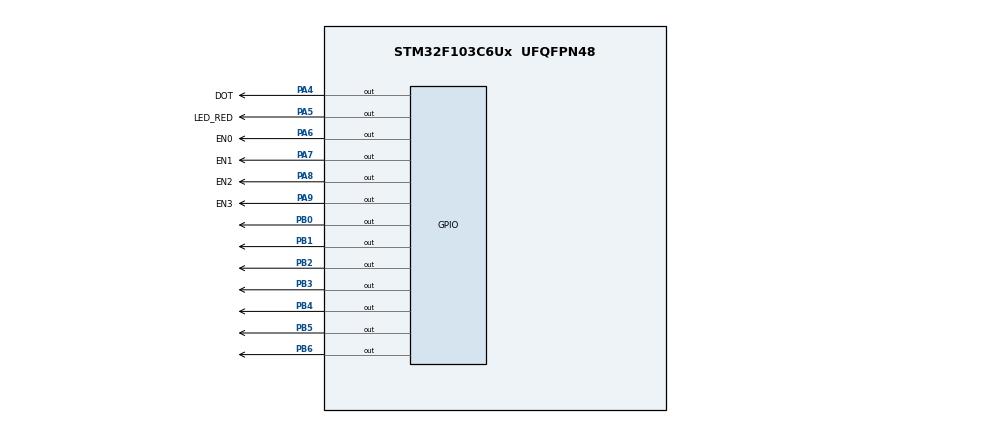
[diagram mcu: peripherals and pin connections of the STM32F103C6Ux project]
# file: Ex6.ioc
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Mcu.Family=STM32F1
Mcu.Name=STM32F103C6Ux
Mcu.Package=UFQFPN48
NVIC.PriorityGroup=NVIC_PRIORITYGROUP_4
NVIC.TIM2_IRQn=true\:0\:0\:false\:false\:true\:true\:true
PA4.GPIO_Label=DOT
PA4.Signal=GPIO_Output
PA5.GPIO_Label=LED_RED
PA5.Signal=GPIO_Output
PA6.GPIO_Label=EN0
PA6.Signal=GPIO_Output
PA7.GPIO_Label=EN1
PA7.Signal=GPIO_Output
PA8.GPIO_Label=EN2
PA8.Signal=GPIO_Output
PA9.GPIO_Label=EN3
PA9.Signal=GPIO_Output
PB0.Signal=GPIO_Output
PB1.Signal=GPIO_Output
PB2.Signal=GPIO_Output
PB3.Signal=GPIO_Output
PB4.Signal=GPIO_Output
PB5.Signal=GPIO_Output
PB6.Signal=GPIO_Output
ProjectManager.HeapSize=0x200
ProjectManager.StackSize=0x400
ProjectManager.TargetToolchain=STM32CubeIDE
RCC.APB1Freq_Value=8000000
RCC.APB2Freq_Value=8000000
TIM2.Period=10
TIM2.Prescaler=7999
VP_SYS_VS_ND.Mode=No_Debug
VP_TIM2_VS_ClockSourceINT.Mode=Internal
board=custom

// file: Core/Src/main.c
/* USER CODE BEGIN Header */
/**
 ******************************************************************************
 * @file           : main.c
 * @brief          : Main program body
 ******************************************************************************
 * @attention
 *
 * <h2><center>&copy; Copyright (c) 2022 STMicroelectronics.
 * All rights reserved.</center></h2>
 *
 * This software component is licensed by ST under BSD 3-Clause license,
 * the "License"; You may not use this file except in compliance with the
 * License. You may obtain a copy of the License at:
 *                        opensource.org/licenses/BSD-3-Clause
 *
 ******************************************************************************
 */
/* USER CODE END Header */
#include "main.h"

/* USER CODE BEGIN Includes */
#include "software_timer.h"
/* USER CODE END Includes */

TIM_HandleTypeDef htim2;

void SystemClock_Config(void);
static void MX_TIM2_Init(void);
static void MX_GPIO_Init(void);

/* USER CODE BEGIN 0 */
void display7SEG(int num, GPIO_TypeDef *GPIOx, uint16_t start_index) {
	__IO uint16_t temp;
	switch (num) {
	case 0:
		temp = 0b1000000;
		break;
	case 1:
		temp = 0b1111001;
		break;
	case 2:
		temp = 0b0100100;
		break;
	case 3:
		temp = 0b0110000;
		break;
	case 4:
		temp = 0b0011001;
		break;
	case 5:
		temp = 0b0010010;
		break;
	case 6:
		temp = 0b0000010;
		break;
	case 7:
		temp = 0b1111000;
		break;
	case 8:
		temp = 0b0;
		break;
	case 9:
		temp = 0b0010000;
		break;
	default:
		temp = !0b0;
		break;
	}
	uint16_t bitmask = 0b1111111 << start_index;
	GPIOx->ODR = (GPIOx->ODR & ~bitmask) | (temp << start_index);
}
/* USER CODE END 0 */

int main(void) {

	/* MCU Configuration--------------------------------------------------------*/

	/* Reset of all peripherals, Initializes the Flash interface and the Systick. */
	HAL_Init();

	/* Configure the system clock */
	SystemClock_Config();

	/* Initialize all configured peripherals */
	MX_TIM2_Init();
	MX_GPIO_Init();
	/* USER CODE BEGIN 2 */
	int hour = 15, minute = 8, second = 50;

	// Set bit en 1..4
	void setEnable(uint16_t num) {
		//	uint16_t bitmask = 0b1111111 << start_index ;
		//	GPIOx->ODR = (GPIOx->ODR & ~bitmask)
		//			| (temp << start_index);
		uint16_t bitmask = 0xf << 6;
		GPIOA->ODR = (GPIOA->ODR & ~bitmask) | (~(1 << num) << 6);

	}

	int led_buffer[4] = { 1, 2, 4, 5 };
	void update7SEG(int index) {
		switch (index) {
		case 0:
			setEnable(0);
			break;
		case 1:
			setEnable(1);
			break;
		case 2:
			setEnable(2);
			break;
		case 3:
			setEnable(3);
			break;
		default:
			break;
		}
		display7SEG(led_buffer[index], GPIOB, 0);
	}
	void updateClockBuffer() {
		led_buffer[0] = hour / 10;
		led_buffer[1] = hour % 10;
		led_buffer[2] = minute / 10;
		led_buffer[3] = minute % 10;
	}
	/* USER CODE END 2 */

	/* Infinite loop */
	/* USER CODE BEGIN WHILE */
	setTimer0(1000);
	while (1) {
		updateClockBuffer();
		if (timer0_flag == 1) {
			HAL_GPIO_TogglePin(LED_RED_GPIO_Port, LED_RED_Pin);
			setTimer0(2000);
		}
		/* USER CODE END WHILE */

	}
}

void SystemClock_Config(void) {
	RCC_OscInitTypeDef RCC_OscInitStruct = { 0 };
	RCC_ClkInitTypeDef RCC_ClkInitStruct = { 0 };

	/** Initializes the RCC Oscillators according to the specified parameters
	 * in the RCC_OscInitTypeDef structure.
	 */
	RCC_OscInitStruct.OscillatorType = RCC_OSCILLATORTYPE_HSI;
	RCC_OscInitStruct.HSIState = RCC_HSI_ON;
	RCC_OscInitStruct.HSICalibrationValue = RCC_HSICALIBRATION_DEFAULT;
	RCC_OscInitStruct.PLL.PLLState = RCC_PLL_NONE;
	if (HAL_RCC_OscConfig(&RCC_OscInitStruct) != HAL_OK) {
		Error_Handler();
	}
	/** Initializes the CPU, AHB and APB buses clocks
	 */
	RCC_ClkInitStruct.ClockType = RCC_CLOCKTYPE_HCLK | RCC_CLOCKTYPE_SYSCLK
			| RCC_CLOCKTYPE_PCLK1 | RCC_CLOCKTYPE_PCLK2;
	RCC_ClkInitStruct.SYSCLKSource = RCC_SYSCLKSOURCE_HSI;
	RCC_ClkInitStruct.AHBCLKDivider = RCC_SYSCLK_DIV1;
	RCC_ClkInitStruct.APB1CLKDivider = RCC_HCLK_DIV1;
	RCC_ClkInitStruct.APB2CLKDivider = RCC_HCLK_DIV1;

	if (HAL_RCC_ClockConfig(&RCC_ClkInitStruct, FLASH_LATENCY_0) != HAL_OK) {
		Error_Handler();
	}
}

static void MX_TIM2_Init(void) {

	TIM_ClockConfigTypeDef sClockSourceConfig = { 0 };
	TIM_MasterConfigTypeDef sMasterConfig = { 0 };

	htim2.Instance = TIM2;
	htim2.Init.Prescaler = 7999;
	htim2.Init.CounterMode = TIM_COUNTERMODE_UP;
	htim2.Init.Period = 10;
	htim2.Init.ClockDivision = TIM_CLOCKDIVISION_DIV1;
	htim2.Init.AutoReloadPreload = TIM_AUTORELOAD_PRELOAD_DISABLE;
	if (HAL_TIM_Base_Init(&htim2) != HAL_OK) {
		Error_Handler();
	}
	sClockSourceConfig.ClockSource = TIM_CLOCKSOURCE_INTERNAL;
	if (HAL_TIM_ConfigClockSource(&htim2, &sClockSourceConfig) != HAL_OK) {
		Error_Handler();
	}
	sMasterConfig.MasterOutputTrigger = TIM_TRGO_RESET;
	sMasterConfig.MasterSlaveMode = TIM_MASTERSLAVEMODE_DISABLE;
	if (HAL_TIMEx_MasterConfigSynchronization(&htim2, &sMasterConfig)
			!= HAL_OK) {
		Error_Handler();
	}

}

static void MX_GPIO_Init(void) {
	GPIO_InitTypeDef GPIO_InitStruct = { 0 };

	/* GPIO Ports Clock Enable */
	__HAL_RCC_GPIOA_CLK_ENABLE();
	__HAL_RCC_GPIOB_CLK_ENABLE();

	/*Configure GPIO pin Output Level */
	HAL_GPIO_WritePin(GPIOA,
	DOT_Pin | LED_RED_Pin | EN0_Pin | EN1_Pin | EN2_Pin | EN3_Pin,
			GPIO_PIN_RESET);

	/*Configure GPIO pin Output Level */
	HAL_GPIO_WritePin(GPIOB,
			GPIO_PIN_0 | GPIO_PIN_1 | GPIO_PIN_2 | GPIO_PIN_3 | GPIO_PIN_4
					| GPIO_PIN_5 | GPIO_PIN_6, GPIO_PIN_RESET);

	/*Configure GPIO pins : DOT_Pin LED_RED_Pin EN0_Pin EN1_Pin
	 EN2_Pin EN3_Pin */
	GPIO_InitStruct.Pin = DOT_Pin | LED_RED_Pin | EN0_Pin | EN1_Pin | EN2_Pin
			| EN3_Pin;
	GPIO_InitStruct.Mode = GPIO_MODE_OUTPUT_PP;
	GPIO_InitStruct.Pull = GPIO_NOPULL;
	GPIO_InitStruct.Speed = GPIO_SPEED_FREQ_LOW;
	HAL_GPIO_Init(GPIOA, &GPIO_InitStruct);

	/*Configure GPIO pins : PB0 PB1 PB2 PB3
	 PB4 PB5 PB6 */
	GPIO_InitStruct.Pin = GPIO_PIN_0 | GPIO_PIN_1 | GPIO_PIN_2 | GPIO_PIN_3
			| GPIO_PIN_4 | GPIO_PIN_5 | GPIO_PIN_6;
	GPIO_InitStruct.Mode = GPIO_MODE_OUTPUT_PP;
	GPIO_InitStruct.Pull = GPIO_NOPULL;
	GPIO_InitStruct.Speed = GPIO_SPEED_FREQ_LOW;
	HAL_GPIO_Init(GPIOB, &GPIO_InitStruct);

}

/* USER CODE BEGIN 4 */
void HAL_TIM_PeriodElapsedCallback(TIM_HandleTypeDef *htim) {
	timer_run();
}
/* USER CODE END 4 */

void Error_Handler(void) {
	__disable_irq();
	while (1) {
	}
}

/************************ (C) COPYRIGHT STMicroelectronics *****END OF FILE****/
